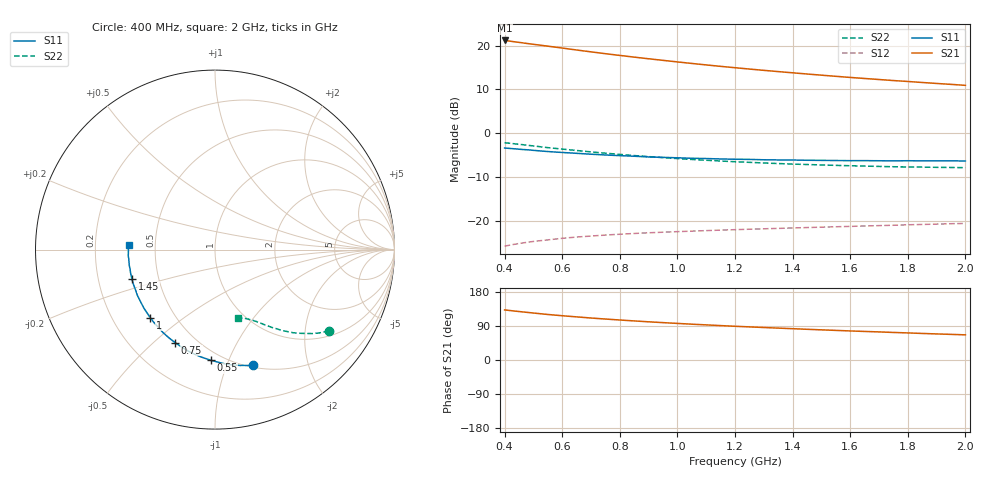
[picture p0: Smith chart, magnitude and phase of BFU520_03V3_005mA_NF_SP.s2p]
! Filename:  P:\Prog\Test\Noise\ATS_data\Testdata_Net\06 Compressed Noise after Statistics\BFU520_APG2013_37_A05_03p3V_005mA_NF_CM01_D.sf
! Date/Time: Fri 26/Apr/2013 14:13:16
! BFU520_APG2013_37_A05_03p3V_1to20mA_NF_CM01_Bias4_R.sf
! Noise Parameter Data File
! BFU520_APG2013_37_A05_03p3V_1to20mA_NF_CM01
! Date/time: Tue Apr 23 15:18:41 2013
! VAR V_out= 3.300000
! VAR I_out= 5.000000
! VAR V_in= 0.830500
! VAR I_in= 0.057505
! Device data file deembeded for feedlines and parallel
! Original file: \06 Compressed Noise after Statistics\BFU520_APG2013_37_A05_03p3V_005mA_NF_CM01_R.sf
! Feed-files: PR047V01_250413_Feed1.s2p, PR047V01_250413_Feed2.s2p
! Parallel-file: PR047V01_250413_Par.s2p
# MHz S MA R 50
!  Freq-MHz  S11-mag  S11-arg  S21-mag  S21-arg  S12-mag  S12-arg  S22-mag  S22-arg
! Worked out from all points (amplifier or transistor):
!   37 points, 400 MHz to 2 GHz, reference 50 ohm
!   highest |S21| = 21.2 dB at 400 MHz (marker M1)
!   |S21| within 3 dB of that: start of sweep to 747 MHz
!   unconditionally stable (mu >= 1): nowhere
!   at 500 MHz: K = 0.31, MSG = 22.5 dB, |S12| = -24.8 dB
!   at 1.1 GHz: K = 0.62, MSG = 18.9 dB, |S12| = -22.3 dB
!   at 2 GHz: K = 0.95, MSG = 15.8 dB, |S12| = -20.6 dB
!   lowest NFmin = 0.65 dB at 420 MHz
!   S11 on the Smith chart (normalised r, x): 400 MHz: 0.52, -1.24; 550 MHz: 0.43, -0.86; 750 MHz: 0.39, -0.59; 1 GHz: 0.36, -0.38; 1.45 GHz: 0.35, -0.15; 2 GHz: 0.35, +0.03
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400  0.6775 -71.9  11.5 132.2  0.0511 55.4  0.7792 -35.5
440  0.6608 -77.7  11.05 128.7  0.0541 53.3  0.7531 -37.8
480  0.6458 -83.0  10.59 125.5  0.05665 51.3  0.727 -39.9
550  0.6172 -92.2  9.895 120.1  0.06029 48.4  0.684 -43.1
600  0.6021 -97.9  9.415 116.8  0.06285 46.7  0.6586 -45.0
650  0.5889 -103.2  8.941 113.8  0.06499 45.2  0.6344 -46.9
700  0.5754 -108.4  8.519 110.8  0.06671 44.0  0.6117 -48.4
750  0.5638 -113.2  8.115 108.1  0.06843 42.9  0.5914 -49.9
800  0.5543 -117.7  7.754 105.5  0.06997 42.0  0.5722 -51.2
850  0.5455 -122.1  7.413 103.1  0.07138 41.1  0.5552 -52.4
900  0.5354 -126.3  7.098 100.8  0.07267 40.4  0.5404 -53.6
950  0.5297 -130.1  6.809 98.6  0.07379 39.8  0.5254 -54.7
1000  0.5234 -133.6  6.534 96.5  0.07493 39.3  0.5131 -55.6
1050  0.5168 -137.3  6.278 94.5  0.07592 38.9  0.5011 -56.7
1100  0.5134 -140.4  6.037 92.7  0.07696 38.6  0.4908 -57.4
1200  0.5039 -146.9  5.61 89.0  0.0789 38.1  0.4721 -59.3
1300  0.4969 -152.5  5.234 85.7  0.08073 37.8  0.4567 -60.8
1450  0.4905 -160.6  4.753 81.0  0.08343 37.6  0.4385 -63.1
1500  0.4892 -162.8  4.61 79.5  0.08428 37.6  0.4338 -63.8
1600  0.4853 -167.6  4.344 76.7  0.086 37.7  0.4246 -65.3
1750  0.4829 -174.0  4.001 72.7  0.08864 38.0  0.4136 -67.5
2000  0.4815 176.7  3.526 66.4  0.09294 38.6  0.4035 -71.2
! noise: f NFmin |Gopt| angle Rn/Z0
400  0.7381  0.2114  20.51  0.136
460  0.6881  0.1608  35.43  0.112
600  0.7416  0.194  37.37  0.1282
800  0.7567  0.1702  55.99  0.1116
1000  0.7895  0.1716  64.76  0.1105
1200  0.7901  0.1736  78.84  0.1098
1400  0.8468  0.1863  92.68  0.0977
1600  0.8706  0.1782  107.9  0.0968
1800  0.803  0.1944  128.2  0.0829
2000  0.943  0.1997  134.7  0.0892
